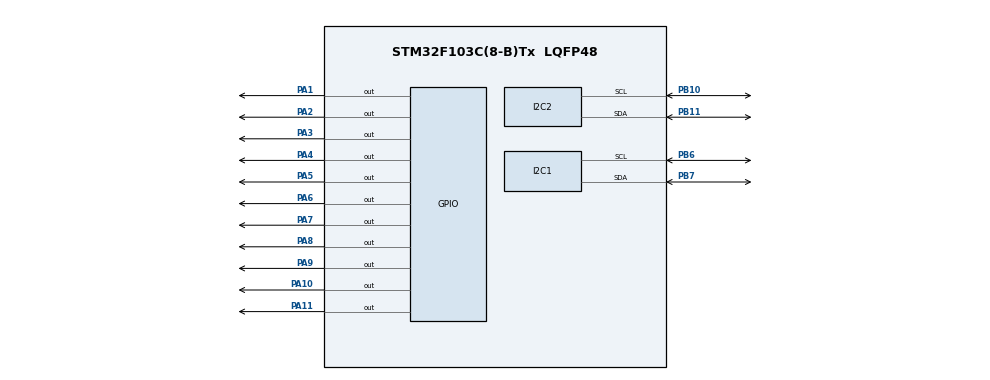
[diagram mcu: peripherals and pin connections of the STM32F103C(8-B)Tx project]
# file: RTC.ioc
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Mcu.Family=STM32F1
Mcu.Name=STM32F103C(8-B)Tx
Mcu.Package=LQFP48
NVIC.PriorityGroup=NVIC_PRIORITYGROUP_4
PA1.Signal=GPIO_Output
PA10.Signal=GPIO_Output
PA11.Signal=GPIO_Output
PA13.Mode=Serial_Wire
PA13.Signal=SYS_JTMS-SWDIO
PA14.Mode=Serial_Wire
PA14.Signal=SYS_JTCK-SWCLK
PA2.Signal=GPIO_Output
PA3.Signal=GPIO_Output
PA4.Signal=GPIO_Output
PA5.Signal=GPIO_Output
PA6.Signal=GPIO_Output
PA7.Signal=GPIO_Output
PA8.Signal=GPIO_Output
PA9.Signal=GPIO_Output
PB10.Mode=I2C
PB10.Signal=I2C2_SCL
PB11.Mode=I2C
PB11.Signal=I2C2_SDA
PB6.Mode=I2C
PB6.Signal=I2C1_SCL
PB7.Mode=I2C
PB7.Signal=I2C1_SDA
ProjectManager.HeapSize=0x200
ProjectManager.StackSize=0x400
ProjectManager.TargetToolchain=MDK-ARM V5.27
RCC.APB1Freq_Value=8000000
RCC.APB2Freq_Value=8000000
board=custom

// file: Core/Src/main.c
/* USER CODE BEGIN Header */
/**
  ******************************************************************************
  * @file           : main.c
  * @brief          : Main program body
  ******************************************************************************
  * @attention
  *
  * <h2><center>&copy; Copyright (c) 2025 STMicroelectronics.
  * All rights reserved.</center></h2>
  *
  * This software component is licensed by ST under BSD 3-Clause license,
  * the "License"; You may not use this file except in compliance with the
  * License. You may obtain a copy of the License at:
  *                        opensource.org/licenses/BSD-3-Clause
  *
  ******************************************************************************
  */
/* USER CODE END Header */
#include "main.h"
#include "CLCD_I2C.h"
#include "stdio.h"

I2C_HandleTypeDef hi2c1;
I2C_HandleTypeDef hi2c2;

void SystemClock_Config(void);
static void MX_GPIO_Init(void);
static void MX_I2C1_Init(void);
static void MX_I2C2_Init(void);
/* USER CODE BEGIN PFP */
#define DS1307_ADDRESS 0xD0
#define SLAVE_ADDRESS_LCD 0x4E
uint8_t giay;
uint8_t phut;
uint8_t gio;
uint8_t thu;
uint8_t ngay;
uint8_t thang;
uint8_t nam;
char buffer[30];
char data[10];
CLCD_I2C_Name LCD1;
/* USER CODE END PFP */

/* USER CODE BEGIN 0 */
uint8_t decToBcd(int val)
{
  return (uint8_t)( (val/10*16) + (val%10) ); // doi tu thap phan sang nhi phan
}
int bcdToDec(uint8_t val)
{
  return (int)( (val/16*10) + (val%16) ); // doi tu nhi phan sang thap phan
}
void Set_Time (uint8_t sec, uint8_t min, uint8_t hour, uint8_t dow, uint8_t dom, uint8_t month, uint8_t year)
{
	uint8_t set_time[7];
	set_time[0] = decToBcd(sec);
	set_time[1] = decToBcd(min);
	set_time[2] = decToBcd(hour);
	set_time[3] = decToBcd(dow);     // Th? (0-6)
	set_time[4] = decToBcd(dom);     // Ngày
	set_time[5] = decToBcd(month);   // Tháng
	set_time[6] = decToBcd(year);    // Nam

	HAL_I2C_Mem_Write(&hi2c2, DS1307_ADDRESS, 0x00, 1, set_time, 7, 1000);
}
void Get_Time (void)
{
	uint8_t get_time[7];
	HAL_I2C_Mem_Read(&hi2c2, DS1307_ADDRESS, 0x00, 1, get_time, 7, 1000);
	giay= bcdToDec(get_time[0]);
	phut = bcdToDec(get_time[1]);
	gio = bcdToDec(get_time[2]);
	thu = bcdToDec(get_time[3]);
	ngay = bcdToDec(get_time[4]);
	thang = bcdToDec(get_time[5]);
	nam = bcdToDec(get_time[6]);

}
/* USER CODE END 0 */

int main(void)
{

  /* MCU Configuration--------------------------------------------------------*/

  /* Reset of all peripherals, Initializes the Flash interface and the Systick. */
  HAL_Init();

  /* Configure the system clock */
  SystemClock_Config();

  /* Initialize all configured peripherals */
  MX_GPIO_Init();
  MX_I2C1_Init();
  MX_I2C2_Init();
  /* USER CODE BEGIN 2 */
	CLCD_I2C_Init(&LCD1,&hi2c1,0x4e,16,2);
	CLCD_I2C_SetCursor(&LCD1,0,0);
	CLCD_I2C_WriteString( &LCD1,"XUAN MAI");

  Set_Time(1,34,00,7,18,05,25);
  /* USER CODE END 2 */

  /* Infinite loop */
  while (1)
  {
   Get_Time();
		CLCD_I2C_SetCursor(&LCD1,0,0);
		sprintf(buffer, "%02d:%02d:%02d", gio, phut, giay);
		CLCD_I2C_WriteString(&LCD1, buffer);

		CLCD_I2C_SetCursor(&LCD1,0,1); // nên dùng (0,1) ho?c (4,1) thay vì (2,1) n?u LCD 16x2
		sprintf(buffer, "T%d-%02d-%02d-20%02d",thu, ngay, thang, nam);
		CLCD_I2C_WriteString(&LCD1, buffer);

  }
}

void SystemClock_Config(void)
{
  RCC_OscInitTypeDef RCC_OscInitStruct = {0};
  RCC_ClkInitTypeDef RCC_ClkInitStruct = {0};

  /** Initializes the RCC Oscillators according to the specified parameters
  * in the RCC_OscInitTypeDef structure.
  */
  RCC_OscInitStruct.OscillatorType = RCC_OSCILLATORTYPE_HSI;
  RCC_OscInitStruct.HSIState = RCC_HSI_ON;
  RCC_OscInitStruct.HSICalibrationValue = RCC_HSICALIBRATION_DEFAULT;
  RCC_OscInitStruct.PLL.PLLState = RCC_PLL_NONE;
  if (HAL_RCC_OscConfig(&RCC_OscInitStruct) != HAL_OK)
  {
    Error_Handler();
  }
  /** Initializes the CPU, AHB and APB buses clocks
  */
  RCC_ClkInitStruct.ClockType = RCC_CLOCKTYPE_HCLK|RCC_CLOCKTYPE_SYSCLK
                              |RCC_CLOCKTYPE_PCLK1|RCC_CLOCKTYPE_PCLK2;
  RCC_ClkInitStruct.SYSCLKSource = RCC_SYSCLKSOURCE_HSI;
  RCC_ClkInitStruct.AHBCLKDivider = RCC_SYSCLK_DIV1;
  RCC_ClkInitStruct.APB1CLKDivider = RCC_HCLK_DIV1;
  RCC_ClkInitStruct.APB2CLKDivider = RCC_HCLK_DIV1;

  if (HAL_RCC_ClockConfig(&RCC_ClkInitStruct, FLASH_LATENCY_0) != HAL_OK)
  {
    Error_Handler();
  }
}

static void MX_I2C1_Init(void)
{

  hi2c1.Instance = I2C1;
  hi2c1.Init.ClockSpeed = 100000;
  hi2c1.Init.DutyCycle = I2C_DUTYCYCLE_2;
  hi2c1.Init.OwnAddress1 = 0;
  hi2c1.Init.AddressingMode = I2C_ADDRESSINGMODE_7BIT;
  hi2c1.Init.DualAddressMode = I2C_DUALADDRESS_DISABLE;
  hi2c1.Init.OwnAddress2 = 0;
  hi2c1.Init.GeneralCallMode = I2C_GENERALCALL_DISABLE;
  hi2c1.Init.NoStretchMode = I2C_NOSTRETCH_DISABLE;
  if (HAL_I2C_Init(&hi2c1) != HAL_OK)
  {
    Error_Handler();
  }

}

static void MX_I2C2_Init(void)
{

  hi2c2.Instance = I2C2;
  hi2c2.Init.ClockSpeed = 100000;
  hi2c2.Init.DutyCycle = I2C_DUTYCYCLE_2;
  hi2c2.Init.OwnAddress1 = 0;
  hi2c2.Init.AddressingMode = I2C_ADDRESSINGMODE_7BIT;
  hi2c2.Init.DualAddressMode = I2C_DUALADDRESS_DISABLE;
  hi2c2.Init.OwnAddress2 = 0;
  hi2c2.Init.GeneralCallMode = I2C_GENERALCALL_DISABLE;
  hi2c2.Init.NoStretchMode = I2C_NOSTRETCH_DISABLE;
  if (HAL_I2C_Init(&hi2c2) != HAL_OK)
  {
    Error_Handler();
  }

}

static void MX_GPIO_Init(void)
{
  GPIO_InitTypeDef GPIO_InitStruct = {0};

  /* GPIO Ports Clock Enable */
  __HAL_RCC_GPIOA_CLK_ENABLE();
  __HAL_RCC_GPIOB_CLK_ENABLE();

  /*Configure GPIO pin Output Level */
  HAL_GPIO_WritePin(GPIOA, GPIO_PIN_1|GPIO_PIN_2|GPIO_PIN_3|GPIO_PIN_4
                          |GPIO_PIN_5|GPIO_PIN_6|GPIO_PIN_7|GPIO_PIN_8
                          |GPIO_PIN_9|GPIO_PIN_10|GPIO_PIN_11, GPIO_PIN_RESET);

  /*Configure GPIO pins : PA1 PA2 PA3 PA4
                           PA5 PA6 PA7 PA8
                           PA9 PA10 PA11 */
  GPIO_InitStruct.Pin = GPIO_PIN_1|GPIO_PIN_2|GPIO_PIN_3|GPIO_PIN_4
                          |GPIO_PIN_5|GPIO_PIN_6|GPIO_PIN_7|GPIO_PIN_8
                          |GPIO_PIN_9|GPIO_PIN_10|GPIO_PIN_11;
  GPIO_InitStruct.Mode = GPIO_MODE_OUTPUT_PP;
  GPIO_InitStruct.Pull = GPIO_NOPULL;
  GPIO_InitStruct.Speed = GPIO_SPEED_FREQ_LOW;
  HAL_GPIO_Init(GPIOA, &GPIO_InitStruct);

}

void Error_Handler(void)
{
  __disable_irq();
  while (1)
  {
  }
}

/************************ (C) COPYRIGHT STMicroelectronics *****END OF FILE****/
